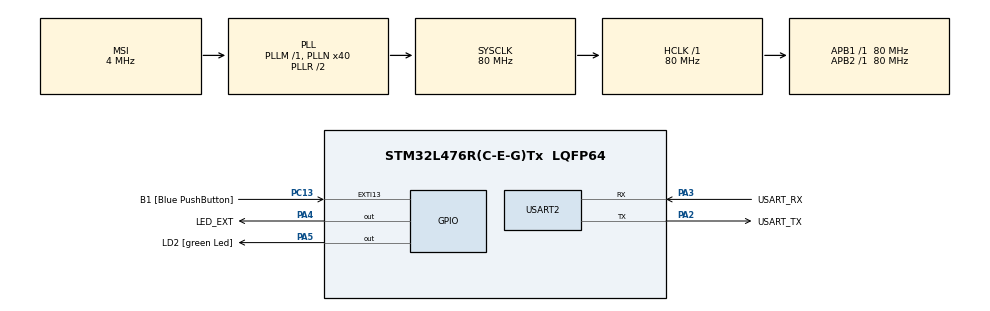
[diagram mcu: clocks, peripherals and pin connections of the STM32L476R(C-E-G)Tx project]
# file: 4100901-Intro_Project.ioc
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Mcu.Family=STM32L4
Mcu.Name=STM32L476R(C-E-G)Tx
Mcu.Package=LQFP64
NVIC.EXTI15_10_IRQn=true\:0\:0\:false\:false\:true\:true\:true\:true
NVIC.PriorityGroup=NVIC_PRIORITYGROUP_4
NVIC.USART2_IRQn=true\:0\:0\:false\:false\:true\:true\:true\:true
PA13\ (JTMS-SWDIO).GPIO_Label=TMS
PA13\ (JTMS-SWDIO).Mode=Serial_Wire
PA13\ (JTMS-SWDIO).Signal=SYS_JTMS-SWDIO
PA14\ (JTCK-SWCLK).GPIO_Label=TCK
PA14\ (JTCK-SWCLK).Mode=Serial_Wire
PA14\ (JTCK-SWCLK).Signal=SYS_JTCK-SWCLK
PA2.GPIO_Label=USART_TX
PA2.GPIO_Mode=GPIO_MODE_AF_PP
PA2.GPIO_PuPd=GPIO_NOPULL
PA2.GPIO_Speed=GPIO_SPEED_FREQ_VERY_HIGH
PA2.Mode=Asynchronous
PA2.Signal=USART2_TX
PA3.GPIO_Label=USART_RX
PA3.GPIO_Mode=GPIO_MODE_AF_PP
PA3.GPIO_PuPd=GPIO_NOPULL
PA3.GPIO_Speed=GPIO_SPEED_FREQ_VERY_HIGH
PA3.Mode=Asynchronous
PA3.Signal=USART2_RX
PA4.GPIO_Label=LED_EXT
PA4.Signal=GPIO_Output
PA5.GPIO_Label=LD2 [green Led]
PA5.GPIO_ModeDefaultOutputPP=GPIO_MODE_OUTPUT_PP
PA5.GPIO_PuPd=GPIO_NOPULL
PA5.GPIO_Speed=GPIO_SPEED_FREQ_LOW
PA5.Signal=GPIO_Output
PB3\ (JTDO-TRACESWO).GPIO_Label=SWO
PB3\ (JTDO-TRACESWO).Signal=SYS_JTDO-SWO
PC13.GPIO_Label=B1 [Blue PushButton]
PC13.GPIO_ModeDefaultEXTI=GPIO_MODE_IT_FALLING
PC13.GPIO_PuPd=GPIO_NOPULL
PC13.Signal=GPXTI13
PC14-OSC32_IN\ (PC14).Mode=LSE-External-Oscillator
PC14-OSC32_IN\ (PC14).Signal=RCC_OSC32_IN
PC15-OSC32_OUT\ (PC15).Mode=LSE-External-Oscillator
PC15-OSC32_OUT\ (PC15).Signal=RCC_OSC32_OUT
PH0-OSC_IN\ (PH0).Signal=RCC_OSC_IN
PH1-OSC_OUT\ (PH1).Signal=RCC_OSC_OUT
ProjectManager.HeapSize=0x200
ProjectManager.StackSize=0x400
ProjectManager.TargetToolchain=CMake
RCC.ADCFreq_Value=16000000
RCC.AHBFreq_Value=80000000
RCC.APB1Freq_Value=80000000
RCC.APB1TimFreq_Value=80000000
RCC.APB2Freq_Value=80000000
RCC.APB2TimFreq_Value=80000000
RCC.CortexFreq_Value=80000000
RCC.HCLKFreq_Value=80000000
RCC.HSE_VALUE=8000000
RCC.HSI_VALUE=16000000
RCC.MSI_VALUE=4000000
RCC.PLLN=40
RCC.PREFETCH_ENABLE=1
RCC.SYSCLKFreq_VALUE=80000000
RCC.SYSCLKSource=RCC_SYSCLKSOURCE_PLLCLK
RCC.USBFreq_Value=16000000
RCC.VCOOutputFreq_Value=160000000
USART2.VirtualMode-Asynchronous=VM_ASYNC
board=NUCLEO-L476RG

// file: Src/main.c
/* USER CODE BEGIN Header */
/**
  **************************
  * @file           : main.c
  * @brief          : Main program body
  **************************
  * @attention
  *
  * Copyright (c) 2025 STMicroelectronics.
  * All rights reserved.
  *
  * This software is licensed under terms that can be found in the LICENSE file
  * in the root directory of this software component.
  * If no LICENSE file comes with this software, it is provided AS-IS.
  *
  **************************
  */
/* USER CODE END Header */
#include "main.h"
#include "usart.h"
#include "gpio.h"

/* USER CODE BEGIN Includes */
#include <stdio.h> // Para usar sprintf
#include <string.h> // Para usar strlen
/* USER CODE END Includes */

/* USER CODE BEGIN PV */
// Variables para UART
uint8_t rx_data; // Buffer para recibir 1 byte por UART
char tx_buffer[50]; // Buffer para transmitir mensajes por UART

// Variables para el botón y LED externo
volatile uint8_t button_flag = 0; // Flag para indicar que el botón fue presionado (volatile porque se modifica en interrupción)
volatile uint32_t led_ext_off_time = 0; // Momento en que se debe apagar el LED externo
/* USER CODE END PV */

void SystemClock_Config(void);

/* USER CODE BEGIN 0 */
// Callback que se ejecuta cuando se completa la recepción de 1 byte por UART2
void HAL_UART_RxCpltCallback(UART_HandleTypeDef *huart)
{
  if (huart->Instance == USART2)
  {
    char response;

    if (rx_data == 'A')
    {
      response = 'B';   // Si recibo 'A' respondo con 'B'
    }
    else
    {
      response = rx_data; // Si no respondo con lo mismo
    }

    HAL_UART_Transmit(&huart2, (uint8_t*)&response, 1, 10);

    // Volvemos a habilitar la interrupción de recepción UART para el próximo byte
    HAL_UART_Receive_IT(&huart2, &rx_data, 1);
  }
}

// Callback que se ejecuta cuando ocurre una interrupción externa (Botón B1)
void HAL_GPIO_EXTI_Callback(uint16_t GPIO_Pin)
{
  static uint32_t last_press_time = 0; // Guarda el tick de la última pulsación válida
  uint32_t current_time = HAL_GetTick(); // Obtiene el tiempo actual en ms

  if (GPIO_Pin == B1_Pin) // Nos aseguramos que la interrupción es del B1
  {
    // Debounce sencillo: ignorar si han pasado menos de 200ms desde la última vez
    if (current_time - last_press_time > 200)
    {
      button_flag = 1; // Activamos el flag para que el bucle principal lo procese
      last_press_time = current_time; // Actualizamos el tiempo de la última pulsación válida
    }
  }
}
/* USER CODE END 0 */

int main(void)
{

  /* MCU Configuration--------------------------------------------------------*/

  /* Reset of all peripherals, Initializes the Flash interface and the Systick. */
  HAL_Init();

  /* Configure the system clock */
  SystemClock_Config();

  /* Initialize all configured peripherals */
  MX_GPIO_Init();
  MX_USART2_UART_Init();
  /* USER CODE BEGIN 2 */
// Habilitar la recepción UART por interrupción por primera vez
  HAL_UART_Receive_IT(&huart2, &rx_data, 1);

  // Mensaje de bienvenida por UART
  char *welcome_msg = "Sistema de Control Basico - Prueba!!!\r\n";
  HAL_UART_Transmit(&huart2, (uint8_t*)welcome_msg, strlen(welcome_msg), 100);
  /* USER CODE END 2 */

  /* Infinite loop */
  /* USER CODE BEGIN WHILE */
  while (1)
  {
     // ---- Heartbeat LED ----
    static uint32_t last_heartbeat_time = 0;
    if (HAL_GetTick() - last_heartbeat_time >= 2000) // Cada 500 ms
    {
      HAL_GPIO_TogglePin(LD2_GPIO_Port, LD2_Pin); // Cambia el estado del LED LD2
      last_heartbeat_time = HAL_GetTick();
    }

    // ---- Procesamiento del Botón ----
    if (button_flag == 1)
    {
      // 1. Encender LED Externo y LD2
      HAL_GPIO_WritePin(LED_EXT_GPIO_Port, LED_EXT_Pin, GPIO_PIN_SET); // Enciende LED_EXT
      HAL_GPIO_WritePin(LD2_GPIO_Port, LD2_Pin, GPIO_PIN_SET);         // Enciende LD2

      // 2. Calcular cuándo apagarlo (3 segundos desde ahora)
      led_ext_off_time = HAL_GetTick() + 5000;

      // 3. Enviar mensaje por UART
      sprintf(tx_buffer, "Boton B1 presionado! LED EXT ON. Prueba!!!\r\n");
      HAL_UART_Transmit(&huart2, (uint8_t*)tx_buffer, strlen(tx_buffer), 100);

      // 4. Limpiar el flag
      button_flag = 0;
    }

    // ---- Control del Apagado del LED Externo ----
    // Si el tiempo de apagado es distinto de 0 (significa que está programado)
    // y ya hemos alcanzado o superado ese tiempo...
    if (led_ext_off_time != 0 && HAL_GetTick() >= led_ext_off_time)
    {

      // 1. Apagar los LEDs
      HAL_GPIO_WritePin(LED_EXT_GPIO_Port, LED_EXT_Pin, GPIO_PIN_RESET); // Apaga LED_EXT
      HAL_GPIO_WritePin(LD2_GPIO_Port, LD2_Pin, GPIO_PIN_RESET);         // Apaga LD2

      // 2. Enviar mensaje por UART (opcional)
      sprintf(tx_buffer, "LED EXT OFF (timeout). Prueba\r\n");
      HAL_UART_Transmit(&huart2, (uint8_t*)tx_buffer, strlen(tx_buffer), 100);

      // 3. Resetear el tiempo de apagado a 0 (para no volver a apagarlo)
      led_ext_off_time = 0;
    }
    /* USER CODE END WHILE */

  }
}

void SystemClock_Config(void)
{
  RCC_OscInitTypeDef RCC_OscInitStruct = {0};
  RCC_ClkInitTypeDef RCC_ClkInitStruct = {0};

  /** Configure the main internal regulator output voltage
  */
  if (HAL_PWREx_ControlVoltageScaling(PWR_REGULATOR_VOLTAGE_SCALE1) != HAL_OK)
  {
    Error_Handler();
  }

  /** Configure LSE Drive Capability
  */
  HAL_PWR_EnableBkUpAccess();
  __HAL_RCC_LSEDRIVE_CONFIG(RCC_LSEDRIVE_LOW);

  /** Initializes the RCC Oscillators according to the specified parameters
  * in the RCC_OscInitTypeDef structure.
  */
  RCC_OscInitStruct.OscillatorType = RCC_OSCILLATORTYPE_LSE|RCC_OSCILLATORTYPE_MSI;
  RCC_OscInitStruct.LSEState = RCC_LSE_ON;
  RCC_OscInitStruct.MSIState = RCC_MSI_ON;
  RCC_OscInitStruct.MSICalibrationValue = 0;
  RCC_OscInitStruct.MSIClockRange = RCC_MSIRANGE_6;
  RCC_OscInitStruct.PLL.PLLState = RCC_PLL_ON;
  RCC_OscInitStruct.PLL.PLLSource = RCC_PLLSOURCE_MSI;
  RCC_OscInitStruct.PLL.PLLM = 1;
  RCC_OscInitStruct.PLL.PLLN = 40;
  RCC_OscInitStruct.PLL.PLLP = RCC_PLLP_DIV7;
  RCC_OscInitStruct.PLL.PLLQ = RCC_PLLQ_DIV2;
  RCC_OscInitStruct.PLL.PLLR = RCC_PLLR_DIV2;
  if (HAL_RCC_OscConfig(&RCC_OscInitStruct) != HAL_OK)
  {
    Error_Handler();
  }

  /** Initializes the CPU, AHB and APB buses clocks
  */
  RCC_ClkInitStruct.ClockType = RCC_CLOCKTYPE_HCLK|RCC_CLOCKTYPE_SYSCLK
                              |RCC_CLOCKTYPE_PCLK1|RCC_CLOCKTYPE_PCLK2;
  RCC_ClkInitStruct.SYSCLKSource = RCC_SYSCLKSOURCE_PLLCLK;
  RCC_ClkInitStruct.AHBCLKDivider = RCC_SYSCLK_DIV1;
  RCC_ClkInitStruct.APB1CLKDivider = RCC_HCLK_DIV1;
  RCC_ClkInitStruct.APB2CLKDivider = RCC_HCLK_DIV1;

  if (HAL_RCC_ClockConfig(&RCC_ClkInitStruct, FLASH_LATENCY_4) != HAL_OK)
  {
    Error_Handler();
  }

  /** Enable MSI Auto calibration
  */
  HAL_RCCEx_EnableMSIPLLMode();
}

void Error_Handler(void)
{
  __disable_irq();
  while (1)
  {
  }
}
